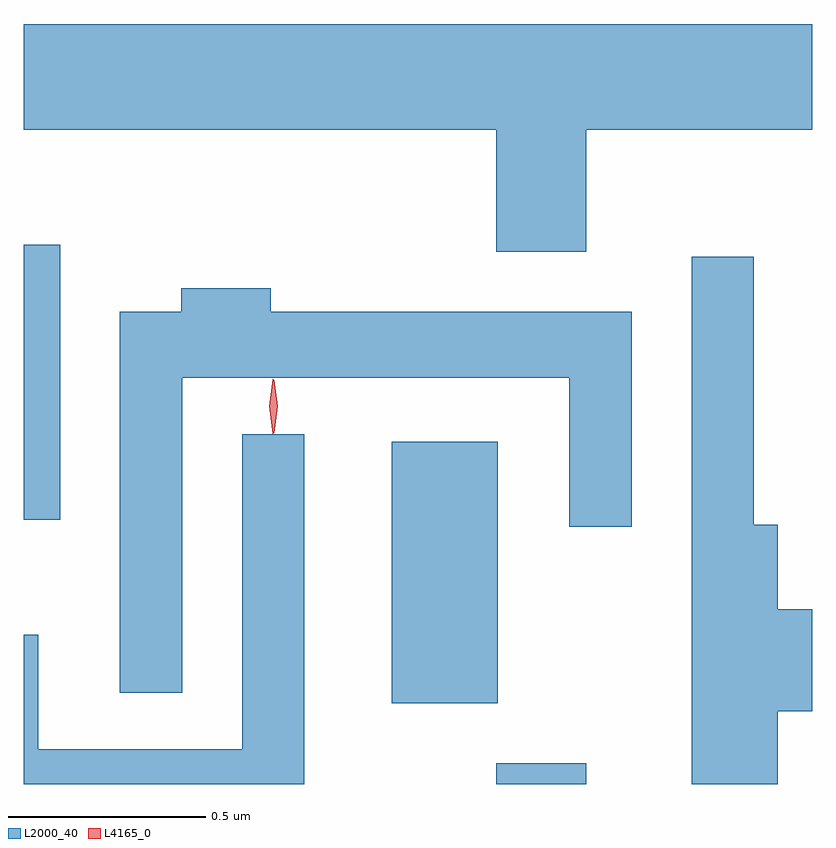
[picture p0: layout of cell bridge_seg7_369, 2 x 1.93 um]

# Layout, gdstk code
import gdstk
lib = gdstk.Library(unit=1e-6, precision=1e-09)
def R(c, l, rs):  # rectangles x0, y0, x1, y1
    for r in rs: c.add(gdstk.rectangle(r[:2], r[2:], *l))
def P(c, l, *ps):  # polygons
    for p in ps: c.add(gdstk.Polygon(p, *l))
L2000_40 = (2000, 40)
L4165_0 = (4165, 0)

bridge_seg7_369 = lib.new_cell('bridge_seg7_369')
R(bridge_seg7_369, L2000_40, [(1160.501,1745.956,1160.729,1746.009), (1160.236,1746.161,1160.504,1746.824), (1159.302,1746.626,1159.394,1747.324)])
P(bridge_seg7_369, L2000_40, [(1160.729,1747.616),(1161.302,1747.616),(1161.302,1747.884),(1159.302,1747.884),(1159.302,1747.616),(1160.501,1747.616),(1160.501,1747.306),(1160.729,1747.306)],
  [(1161.214,1746.141),(1161.302,1746.141),(1161.302,1746.399),(1161.214,1746.399),(1161.214,1746.614),(1161.154,1746.614),(1161.154,1747.293),(1160.996,1747.293),(1160.996,1745.956),(1161.214,1745.956)],
  [(1159.704,1746.986),(1160.686,1746.986),(1160.686,1746.608),(1160.844,1746.608),(1160.844,1747.154),(1159.929,1747.154),(1159.929,1747.214),(1159.701,1747.214),(1159.701,1747.154),(1159.546,1747.154),(1159.546,1746.188),(1159.704,1746.188)],
  [(1160.014,1746.843),(1159.856,1746.843),(1159.856,1746.044),(1159.339,1746.044),(1159.339,1746.334),(1159.302,1746.334),(1159.302,1745.956),(1160.014,1745.956)])
P(bridge_seg7_369, L4165_0, [(1159.934,1746.844),(1159.925,1746.914),(1159.934,1746.983),(1159.935,1746.983),(1159.935,1746.983),(1159.945,1746.914),(1159.935,1746.844),(1159.935,1746.844)],
  [(1159.936,1746.847),(1159.936,1746.847),(1159.926,1746.914),(1159.936,1746.98),(1159.936,1746.981),(1159.937,1746.98),(1159.946,1746.914),(1159.937,1746.847)])

lib.write_gds('bridge_seg7_369.gds')
